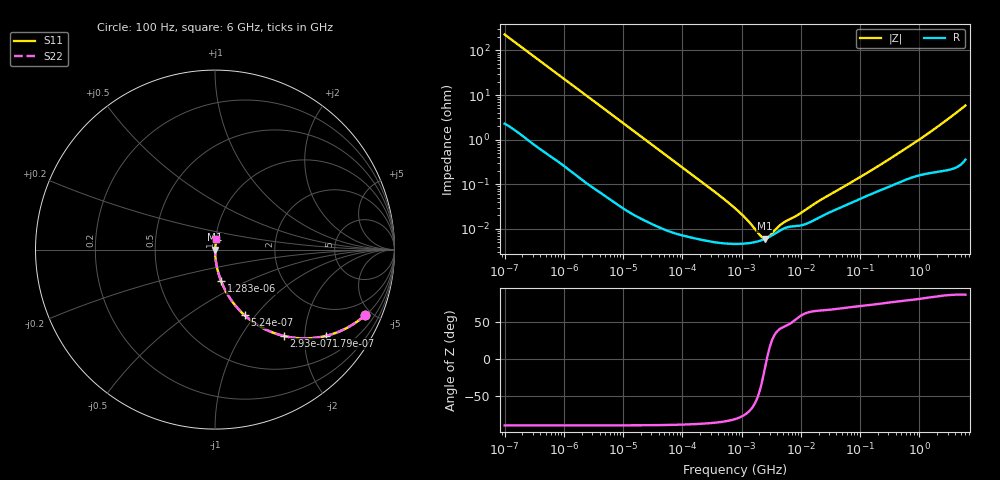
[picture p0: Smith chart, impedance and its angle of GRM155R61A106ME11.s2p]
!Murata Part Number: GRM155R61A106ME11
!These Parameters are Measured in Series Mode Connection
!Data Generated on Mar 30, 2021
!  o--ll--o
!Port1  Port2
!  o------o
!Operation Temp=25[degC], DC Bias Voltage=0[V]
!Freq. Start=100[Hz] Stop=6[GHz] 401[Steps]
# Hz S RI R 50
!Freq.(Hz) S11(Real) S11(Imag) S21(Real) S21(Imag) S12(Real) S12(Imag) S22(Real) S22(Imag)
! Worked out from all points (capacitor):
!   401 points, 100 Hz to 6 GHz, reference 50 ohm
!   read as one part in series: C = 6.95 uF near 109 Hz
!   lowest |Z| = 6.06 mohm at 2.481 MHz (marker M1)
!   series resonance near 2.67 MHz, so ESL is about 510 pH
!   S11 on the Smith chart (normalised r, x): 100 Hz: 1.05, -4.57; 179 Hz: 1.03, -2.56; 293 Hz: 1.02, -1.57; 524 Hz: 1.01, -0.88; 1.283 kHz: 1.00, -0.36; 6 GHz: 1.01, +0.12
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100  0.8367 -0.3647  0.1633 0.3647  0.1633 0.3647  0.8367 -0.3647
131  0.7515 -0.4269  0.2485 0.4269  0.2485 0.4269  0.7515 -0.4269
179  0.6206 -0.4799  0.3794 0.4799  0.3794 0.4799  0.6206 -0.4799
293  0.3833 -0.481  0.6167 0.481  0.6167 0.481  0.3833 -0.481
524  0.1655 -0.3663  0.8345 0.3663  0.8345 0.3663  0.1655 -0.3663
784  0.0829 -0.2702  0.9171 0.2702  0.9171 0.2702  0.0829 -0.2702
1283  0.0336 -0.1749  0.9664 0.1749  0.9664 0.1749  0.0336 -0.1749
2008  0.0145 -0.1144  0.9855 0.1144  0.9855 0.1144  0.0145 -0.1144
6433  0.00176 -0.0365  0.9982 0.0365  0.9982 0.0365  0.00176 -0.0365
40335  0.000143 -0.0059  0.9999 0.0059  0.9999 0.0059  0.000143 -0.0059
330837  5.11e-05 -0.000721  0.9999 0.000721  0.9999 0.000721  5.11e-05 -0.000721
774597  4.6e-05 -0.000287  1 0.000287  1 0.000287  4.6e-05 -0.000287
1658239  5.02e-05 -8.84e-05  0.9999 8.84e-05  0.9999 8.84e-05  5.02e-05 -8.84e-05
1813585  5.16e-05 -7.05e-05  0.9999 7.05e-05  0.9999 7.05e-05  5.16e-05 -7.05e-05
2481164  5.93e-05 -1.26e-05  0.9999 1.26e-05  0.9999 1.26e-05  5.93e-05 -1.26e-05
3882480  8.19e-05 5.98e-05  0.9999 -5.98e-05  0.9999 -5.98e-05  8.19e-05 5.98e-05
5311619  0.000103 9.88e-05  0.9999 -9.88e-05  0.9999 -9.88e-05  0.000103 9.88e-05
8692127  0.000116 0.000164  0.9999 -0.000164  0.9999 -0.000164  0.000116 0.000164
1.555665e7  0.000149 0.000304  0.9999 -0.000304  0.9999 -0.000304  0.000149 0.000304
3.124326e8  0.000896 0.00355  0.9991 -0.00355  0.9991 -0.00355  0.000896 0.00355
1.309207e9  0.00188 0.0127  0.9981 -0.0127  0.9981 -0.0127  0.00188 0.0127
6e9  0.00689 0.0575  0.9931 -0.0575  0.9931 -0.0575  0.00689 0.0575
